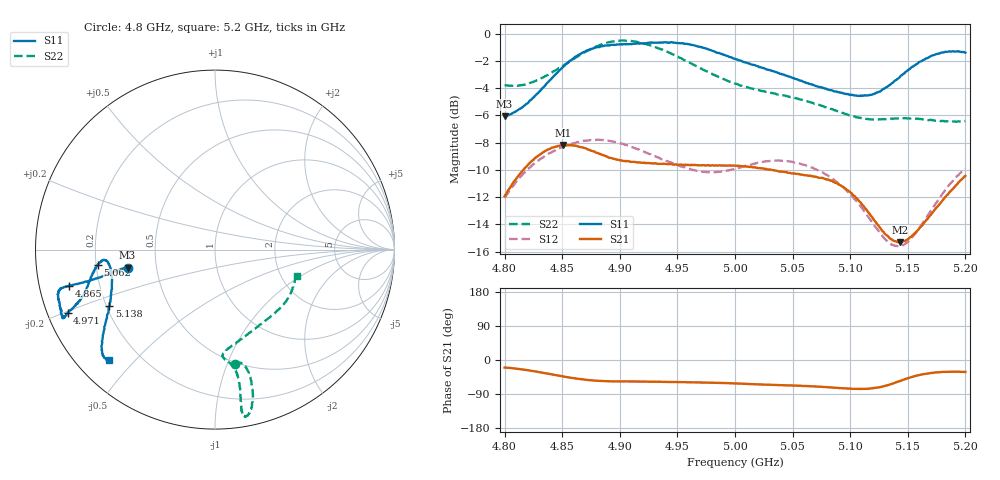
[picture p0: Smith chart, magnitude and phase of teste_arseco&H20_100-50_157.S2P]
! Network Analyzer HP8722D
! Hewlett-Packard
! Data name: Linha & Wilkinson
! Saver's name: Rodrigo Anjos
! Comments: Teste da utilização de aquisição
! continua pelo VNA HP8722D
! Time and date: 6/5/2025 13:52
!  Frequency  S11  S21  S12  S22
# HZ  S  MA R 50
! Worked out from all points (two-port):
!   401 points, 4.8 GHz to 5.2 GHz, reference 50 ohm
!   highest |S21| = -8.16 dB at 4.851 GHz (marker M1); lowest = -15.3 dB at 5.143 GHz (marker M2)
!   |S21| within 3 dB of the highest: 4.806 GHz to 5.092 GHz (286.3 MHz wide, 5.79 % of centre); 5.191583 GHz to end of sweep
!   lowest |S11| = -6.1 dB at 4.8 GHz (marker M3), VSWR 2.98, Z = 16.9 - j4.55 ohm
!   |S11| at or under -10 dB: nowhere
!   |S22| runs from -6.5 to -0.5 dB; largest |S21 - S12| = 0.62
!   S11 on the Smith chart (normalised r, x): 4.8 GHz: 0.34, -0.09; 4.865 GHz: 0.09, -0.12; 4.971 GHz: 0.06, -0.21; 5.062 GHz: 0.21, -0.06; 5.138 GHz: 0.21, -0.24; 5.2 GHz: 0.09, -0.42
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4.8e9  0.4972 -168.3  0.2531 -19.9  0.2494 -141.1  0.648 -80.3
4.822e9  0.5684 -167.7  0.3359 -27.9  0.3227 -144.1  0.6597 -76.2
4.851e9  0.7577 -166.0  0.3908 -43.6  0.3845 -149.5  0.765 -74.7
4.865e9  0.8394 -166.1  0.3839 -50.2  0.4009 -152.0  0.833 -75.4
4.867e9  0.8502 -166.1  0.3831 -51.1  0.4025 -152.2  0.844 -75.5
4.879e9  0.891 -165.8  0.3664 -54.6  0.407 -154.3  0.8954 -76.7
4.899e9  0.9126 -163.1  0.3443 -56.6  0.3976 -156.8  0.9432 -79.1
4.934e9  0.9297 -156.6  0.3327 -57.6  0.3506 -155.8  0.882 -80.5
4.971e9  0.8938 -156.7  0.3288 -59.4  0.3116 -146.7  0.7442 -79.7
5e9  0.8086 -159.2  0.3276 -62.1  0.3195 -137.4  0.6556 -81.4
5.038e9  0.7165 -166.3  0.3124 -66.3  0.3427 -134.7  0.5981 -85.8
5.062e9  0.659 -172.4  0.3018 -68.7  0.3277 -136.5  0.5662 -83.8
5.067e9  0.651 -173.2  0.3002 -69.2  0.3226 -136.9  0.5571 -82.7
5.083e9  0.6208 -174.6  0.2885 -72.4  0.2963 -138.4  0.5298 -76.8
5.102e9  0.5956 -171.8  0.2569 -76.1  0.2523 -138.8  0.4984 -65.9
5.116e9  0.5942 -165.6  0.2201 -75.9  0.2116 -135.5  0.4854 -55.7
5.134e9  0.647 -154.3  0.1779 -65.2  0.1705 -120.6  0.4875 -43.2
5.138e9  0.6671 -152.0  0.1733 -61.0  0.1668 -115.5  0.4878 -40.8
5.143e9  0.6926 -149.3  0.1712 -55.7  0.1662 -108.8  0.4895 -38.0
5.154e9  0.7565 -144.5  0.1817 -44.4  0.1792 -95.0  0.4887 -32.4
5.172e9  0.8343 -139.2  0.2218 -33.7  0.2305 -81.2  0.4807 -24.4
5.2e9  0.8525 -133.9  0.3007 -31.5  0.3191 -77.1  0.4783 -17.6
